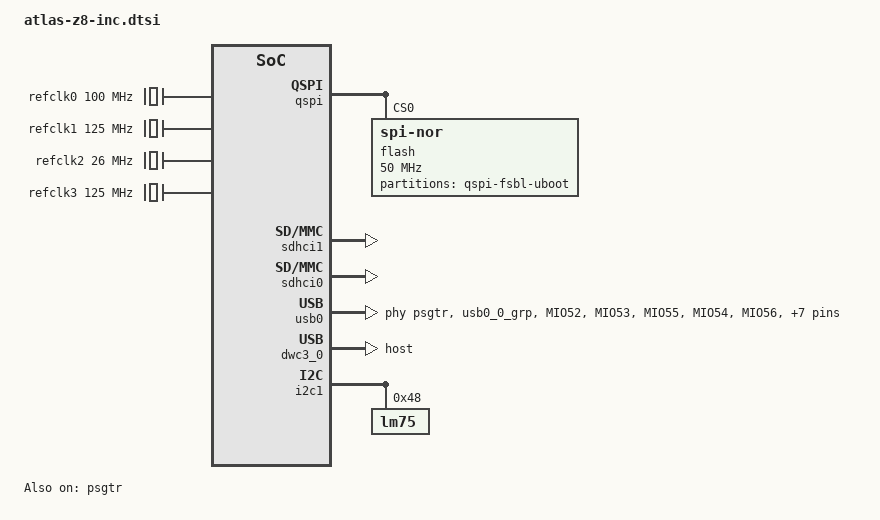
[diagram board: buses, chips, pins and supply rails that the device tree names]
#include <dt-bindings/input/input.h>
#include <dt-bindings/gpio/gpio.h>
#include <dt-bindings/pinctrl/pinctrl-zynqmp.h>
#include <dt-bindings/phy/phy.h>
#include <dt-bindings/clock/xlnx-zynqmp-clk.h>

/ {
    aliases {
        /* uart1 is console */
        serial0 = &uart1;
        serial1 = &uart0;
        mmc0 = &sdhci0;
        mmc1 = &sdhci1;
    };

    iv_ipmi: iv_ipmi {
        compatible = "iv,ipmi";
        #address-cells = <0x01>;
        #size-cells = <0x01>;

        // see Readme.ipmi

        iv_ipmi_mb: iv_mb {
            i2c = < 1 0x52 0 >;  // < bus_num addr offset >
        };

        iv_ipmi_io: iv_io {
            i2c = < 0 0x53 0 >;  // < bus_num addr offset >
        };
    };

    refclk0: silabs_clkgen_0 {
        compatible = "fixed-clock";
        #clock-cells = <0>;
        clock-frequency = <100000000>;
    };

    refclk1: silabs_clkgen_1 {
        compatible = "fixed-clock";
        #clock-cells = <0>;
        clock-frequency = <125000000>;
    };

    refclk2: silabs_clkgen_2 {
        compatible = "fixed-clock";
        #clock-cells = <0>;
        clock-frequency = <26000000>;
    };

    refclk3: silabs_clkgen_3 {
        compatible = "fixed-clock";
        #clock-cells = <0>;
        clock-frequency = <125000000>;
    };

    reserved-memory {
        #address-cells = <0x02>;
        #size-cells = <0x02>;
        ranges;

        iv_zap_pool: iv_zap_pool@0xee00000 {
            reg = <0x00 0xee00000 0x00 0x8000000>;
        };
    };

    fclk0: fclk0 {
        status = "okay";
        compatible = "xlnx,fclk";
        clocks = <&zynqmp_clk PL0_REF>;
    };

    fclk1: fclk1 {
        status = "okay";
        compatible = "xlnx,fclk";
        clocks = <&zynqmp_clk PL1_REF>;
    };

    fclk2: fclk2 {
        status = "okay";
        compatible = "xlnx,fclk";
        clocks = <&zynqmp_clk PL2_REF>;
    };

    fclk3: fclk3 {
        status = "okay";
        compatible = "xlnx,fclk";
        clocks = <&zynqmp_clk PL3_REF>;
    };
};

&pss_ref_clk {
    clock-frequency = <50000000>;
};

&psgtr {
    status = "okay";
    clocks = <&refclk0>, <&refclk1>, <&refclk2>, <&refclk3>;
    clock-names = "ref0", "ref1", "ref2", "ref3";
};

/*
 * Because input clock pss_ref_clk changed from default (from 33.33MHZ to
 * 50MHz), scaling frequencies must be correctly adjusted.  As per TRM,
 * frequencies are based off an integer divisor of PLL clock (APLL in this
 * case), which is set to 1200MHz for speed -1 devices (APLL was 1199MHz
 * when using 33.33MHz)
 */
&cpu_opp_table {
    opp00 {
        opp-hz = /bits/ 64 <1200000000>;
    };

    opp01 {
        opp-hz = /bits/ 64 <600000000>;
    };

    opp02 {
        opp-hz = /bits/ 64 <400000000>;
    };

    opp03 {
        opp-hz = /bits/ 64 <300000000>;
    };
};

&qspi {
    status = "okay";
    is-dual = <0>;

    flash@0 {
        /* Part is: MT25QL02G */
        compatible = "jedec,spi-nor";
        #address-cells = <1>;
        #size-cells = <1>;
        reg = <0x0>;
        spi-max-frequency = <50000000>;
        partition@0x00000000 {
            label = "qspi-fsbl-uboot";
            reg = <0x0 0x1000000>;
        };
    };
};

&sdhci1 {
    status = "okay";
    no-1-8-v;       /* for 1.0 silicon */
    disable-wp;
};

&sdhci0 {
    status = "okay";
    no-1-8-v;       /* for 1.0 silicon */
    disable-wp;
};

&pinctrl0 {
    status = "okay";
    pinctrl_usb0_default: usb0-default {
        mux {
            groups = "usb0_0_grp";
            function = "usb0";
        };

        conf {
            groups = "usb0_0_grp";
            slew-rate = <SLEW_RATE_SLOW>;
            io-standard = <IO_STANDARD_LVCMOS18>;
        };

        conf-rx {
            pins = "MIO52", "MIO53", "MIO55";
            bias-high-impedance;
        };

        conf-tx {
            pins = "MIO54", "MIO56", "MIO57", "MIO58", "MIO59",
                   "MIO60", "MIO61", "MIO62", "MIO63";
            bias-disable;
        };
    };
};

&usb0 {
    status = "okay";
    pinctrl-names = "default";
    pinctrl-0 = <&pinctrl_usb0_default>;
    phy-names = "usb3-phy";
    // PSGTR Lane 0, USB0, PSGTR refclk2 (26MHz)
    phys = <&psgtr 0 PHY_TYPE_USB3 0 2>;
};

&dwc3_0 {
    status = "okay";
    dr_mode = "host";
    snps,usb3_lpm_capable;
    maximum-speed = "super-speed";
};

&i2c1 {
    lm75@48 {
        compatible = "lm75";
        reg = <0x48>;
        status = "okay";
    };
};

// iVeia Atlas z8 SoMs generally have a current sense resistor as SYSMON XADC
// input.  This is accessed via channel 30, as listed in the linux source at:
//      Documentation/devicetree/bindings/iio/adc/xlnx,zynqmp-ams.yaml
// Note: usage requires the SYSMON XADC block is included in the PL.
&ams_pl {
    channel@30 {
        reg = <30>;
    };
};

&amba {
    iveia_ocp {
        compatible = "iv,ocp";
        reg = <0x0 0x80000000 0x0 0x20000000 0x0 0x90000000 0x0 0x01000000 0x0 0x94000000 0x0 0x01000000>;
        reg-names = "full", "events", "io-board";
    };

    iv_zap {
        compatible = "iveia,zap";
        memory-region = <&iv_zap_pool>;
        num-devices = <0x10>;
        reg = <0x00 0x98000000 0x00 0x1000>;
        irq = <0x69>;
        pool-sizes = <0x00 0x4000000 0x00 0x4000000>;
    };
};

